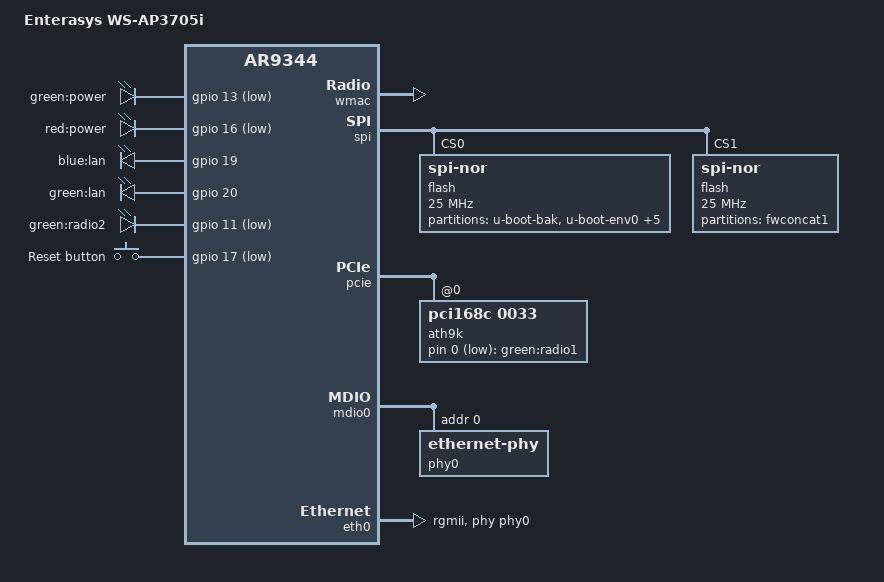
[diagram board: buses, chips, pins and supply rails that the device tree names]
// SPDX-License-Identifier: GPL-2.0-or-later OR MIT

#include "ar9344.dtsi"

#include <dt-bindings/gpio/gpio.h>
#include <dt-bindings/input/input.h>

/ {
	compatible = "enterasys,ws-ap3705i", "qca,ar9344";
	model = "Enterasys WS-AP3705i";

	chosen {
		bootargs = "console=ttyS0,115200n8";
	};

	aliases {
		led-boot = &led_power_green;
		led-failsafe = &led_power_red;
		led-running = &led_power_green;
		led-upgrade = &led_power_red;
		label-mac-device = &eth0;
	};

	mtd-concat {
		compatible = "mtd-concat";
		devices = <&fwconcat0 &fwconcat1>;

		partitions {
			compatible = "fixed-partitions";
			#address-cells = <1>;
			#size-cells = <1>;

			partition@0 {
				compatible = "denx,uimage";
				label = "firmware";
				reg = <0x0 0x1dd0000>;
			};
		};
	};

	leds {
		compatible = "gpio-leds";

		pinctrl-names = "default";
		pinctrl-0 = <&enable_gpio_11 &enable_gpio_16>;

		led_power_green: power_green {
			label = "green:power";
			gpios = <&gpio 13 GPIO_ACTIVE_LOW>;
		};

		led_power_red: power_red {
			label = "red:power";
			gpios = <&gpio 16 GPIO_ACTIVE_LOW>;
		};

		lan_blue {
			label = "blue:lan";
			gpios = <&gpio 19 GPIO_ACTIVE_HIGH>;
		};

		lan_green {
			label = "green:lan";
			gpios = <&gpio 20 GPIO_ACTIVE_HIGH>;
		};

		radio2 {
			label = "green:radio2";
			gpios = <&gpio 11 GPIO_ACTIVE_LOW>;
			linux,default-trigger = "phy0tpt";
		};
	};

	ath9k-leds {
		compatible = "gpio-leds";

		radio1 {
			label = "green:radio1";
			gpios = <&ath9k 0 GPIO_ACTIVE_LOW>;
			linux,default-trigger = "phy1tpt";
		};
	};

	keys {
		compatible = "gpio-keys";

		reset {
			label = "Reset button";
			linux,code = <KEY_RESTART>;
			gpios = <&gpio 17 GPIO_ACTIVE_LOW>;
		};
	};
};

&ref {
	clock-frequency = <40000000>;
};

&pinmux {
	enable_gpio_16: pinmux_enable_gpio_16 {
		pinctrl-single,bits = <0x10 0x0 0x000000ff>;
	};

	enable_gpio_11: pinmux_enable_gpio_11 {
		pinctrl-single,bits = <0x8 0x0 0xff000000>;
	};
};

&wmac {
	status = "okay";
	qca,no-eeprom;
};

&spi {
	status = "okay";

	flash@0 {
		compatible = "jedec,spi-nor";
		reg = <0>;
		spi-max-frequency = <25000000>;

		partitions {
			compatible = "fixed-partitions";
			#address-cells = <1>;
			#size-cells = <1>;

			partition@0 {
				label = "u-boot-bak";
				reg = <0x0 0x80000>;
				read-only;
			};

			partition@80000 {
				label = "u-boot-env0";
				reg = <0x80000 0x10000>;
				read-only;
			};

			partition@90000 {
				label = "u-boot-env1";
				reg = <0x90000 0x10000>;
				read-only;
			};

			partition@a0000 {
				label = "u-boot";
				reg = <0xa0000 0x80000>;
				read-only;
			};

			partition@120000 {
				label = "calibrate";
				reg = <0x120000 0x10000>;
				read-only;
			};

			partition@130000 {
				label = "nvram";
				reg = <0x130000 0x100000>;
				read-only;
			};

			fwconcat0: partition@230000 {
				label = "fwconcat0";
				reg = <0x230000 0xdd0000>;
			};
		};
	};

	flash@1 {
		compatible = "jedec,spi-nor";
		reg = <1>;
		spi-max-frequency = <25000000>;

		partitions {
			compatible = "fixed-partitions";
			#address-cells = <1>;
			#size-cells = <1>;

			fwconcat1: partition@0 {
				label = "fwconcat1";
				reg = <0x0 0x1000000>;
			};
		};
	};
};

&pcie {
	status = "okay";

	ath9k: wifi@0,0 {
		compatible = "pci168c,0033";
		reg = <0x0000 0 0 0 0>;
		qca,no-eeprom;
		#gpio-cells = <2>;
		gpio-controller;
	};
};

&mdio0 {
	status = "okay";

	phy0: ethernet-phy@0 {
		reg = <0>;
	};
};

&eth0 {
	status = "okay";

	pll-data = <0x1e000000 0x08000101 0x08001313>;

	phy-mode = "rgmii";
	phy-handle = <&phy0>;

	gmac-config {
		device = <&gmac>;
		rgmii-gmac0 = <1>;
		rxd-delay = <0>;
		rxdv-delay = <0>;
		txen-delay = <0>;
		txd-delay = <0>;
	};
};
